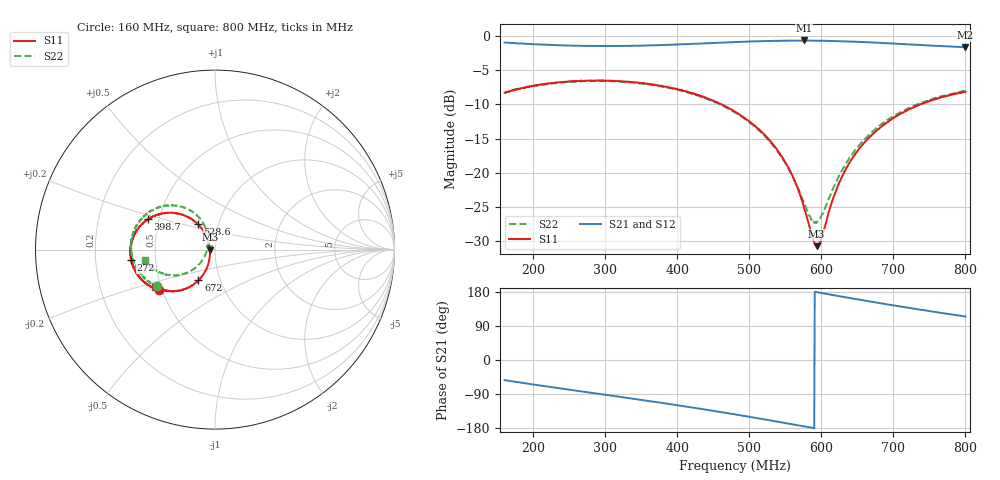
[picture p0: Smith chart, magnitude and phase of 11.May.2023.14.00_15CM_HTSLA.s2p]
!Keysight Technologies N9950B: A.12.38
!Date: Thursday, 11 May 2023 14:04:55
!Timezone: (UTC-06:00) Central Time (US & Canada)
!Model: N9950B
!Serial: MY61131330
!GPS Latitude:
!GPS Longitude:
!GPS TimeStamp: 0001-01-01 00:00:00Z
!GPS Seconds Since Last Read: 0
!CHECKSUM:2147006886
!Correction: S11(ON U)S21(ON U)S12(ON U)S22(ON U)
!S2P File: Measurements:S11,S21,S12,S22:
# Hz S DB R 50
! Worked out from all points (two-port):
!   1001 points, 160 MHz to 800 MHz, reference 50 ohm
!   highest |S21| = -0.67 dB at 576 MHz (marker M1); lowest = -1.7 dB at 800 MHz (marker M2)
!   |S21| within 3 dB of the highest: start of sweep to end of sweep
!   lowest |S11| = -30.7 dB at 593.3 MHz (marker M3), VSWR 1.06, Z = 47.2 - j0.00573 ohm
!   |S11| at or under -10 dB: 461.2 MHz to 736.6 MHz (275.4 MHz wide, 46 % of centre)
!   |S22| runs from -27.3 to -6.5 dB; largest |S21 - S12| = 0.0056
!   S11 on the Smith chart (normalised r, x): 160 MHz: 0.48, -0.25; 272 MHz: 0.36, -0.05; 398.7 MHz: 0.43, +0.18; 528.6 MHz: 0.80, +0.23; 672 MHz: 0.79, -0.28; 800 MHz: 0.47, -0.23
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1.6e8  -8.30 -144.2  -0.98 -53.2  -0.98 -53.2  -8.33 -148.1
2.1056e8  -7.07 -157.6  -1.27 -67.7  -1.28 -67.6  -7.11 -163.0
2.6688e8  -6.56 -172.0  -1.45 -83.0  -1.47 -83.0  -6.62 -178.8
2.72e8  -6.55 -173.1  -1.48 -84.3  -1.47 -84.2  -6.62 -179.9
3.168e8  -6.61 176.0  -1.48 -96.4  -1.49 -96.4  -6.65 168.3
3.7376e8  -7.22 161.9  -1.36 -112.0  -1.36 -111.9  -7.34 152.7
3.9872e8  -7.75 155.5  -1.27 -119.0  -1.27 -119.1  -7.82 145.9
4.4544e8  -9.29 143.5  -1.05 -132.8  -1.05 -132.8  -9.38 133.5
4.8e8  -11.07 134.9  -0.90 -143.5  -0.91 -143.6  -11.17 124.2
5.2864e8  -15.34 123.8  -0.75 -159.3  -0.76 -159.3  -15.46 114.4
5.5616e8  -19.65 122.1  -0.70 -168.6  -0.70 -168.5  -19.76 115.5
5.76e8  -25.10 130.9  -0.67 -175.1  -0.72 -175.2  -24.43 130.6
5.8688e8  -29.27 152.9  -0.71 -178.8  -0.71 -178.9  -26.79 154.2
5.9328e8  -30.70 -179.9  -0.70 178.9  -0.74 179.0  -27.25 173.2
5.9904e8  -29.99 -152.8  -0.73 177.0  -0.72 177.0  -26.51 -170.1
6.1568e8  -23.89 -119.6  -0.75 171.5  -0.76 171.5  -22.43 -144.2
6.3168e8  -19.90 -114.0  -0.80 166.2  -0.81 166.1  -19.09 -137.8
6.5024e8  -16.83 -114.7  -0.88 160.1  -0.88 160.0  -16.24 -137.4
6.72e8  -14.27 -118.4  -0.97 153.0  -0.97 153.0  -13.84 -140.5
6.9376e8  -12.47 -122.8  -1.08 146.1  -1.09 146.2  -12.17 -144.8
7.4432e8  -9.74 -134.8  -1.38 130.8  -1.39 130.9  -9.59 -157.6
8e8  -8.16 -148.2  -1.67 114.8  -1.68 114.9  -8.05 -171.8
